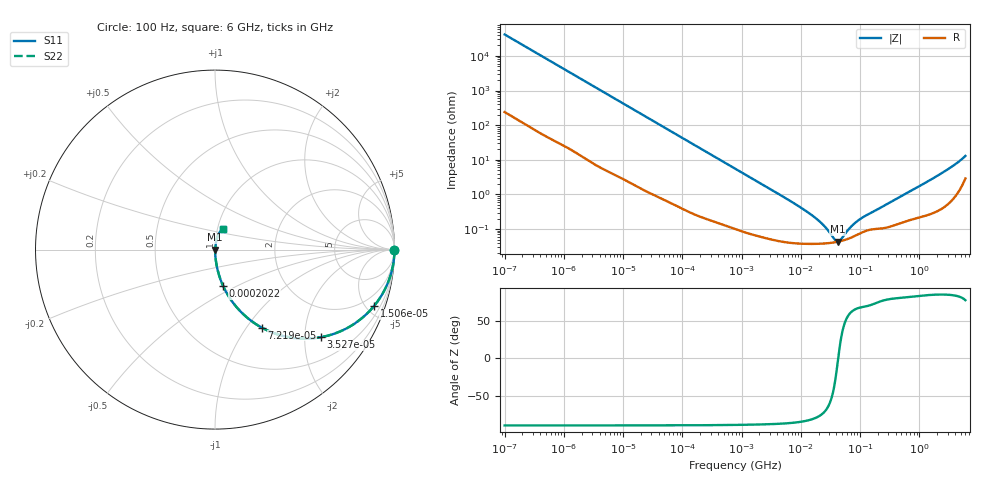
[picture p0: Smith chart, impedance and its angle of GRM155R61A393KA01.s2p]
!Murata Part Number: GRM155R61A393KA01
!These Parameters are Measured in Series Mode Connection
!Data Generated on Mar 30, 2021
!  o--ll--o
!Port1  Port2
!  o------o
!Operation Temp=25[degC], DC Bias Voltage=0[V]
!Freq. Start=100[Hz] Stop=6[GHz] 401[Steps]
# Hz S RI R 50
!Freq.(Hz) S11(Real) S11(Imag) S21(Real) S21(Imag) S12(Real) S12(Imag) S22(Real) S22(Imag)
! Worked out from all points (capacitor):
!   401 points, 100 Hz to 6 GHz, reference 50 ohm
!   read as one part in series: C = 38.3 nF near 109 Hz
!   lowest |Z| = 43.3 mohm at 41.66 MHz (marker M1)
!   series resonance near 42.8 MHz, so ESL is about 360 pH
!   S11 on the Smith chart (normalised r, x): 100 Hz: open; 15.06 kHz: 1.04, -5.62; 35.27 kHz: 1.02, -2.41; 72.19 kHz: 1.01, -1.18; 202.2 kHz: 1.00, -0.42; 6 GHz: 1.06, +0.25
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100  1 -0.00241  1.97e-05 0.00241  1.97e-05 0.00241  1 -0.00241
2008  0.9974 -0.0477  0.00257 0.0477  0.00257 0.0477  0.9974 -0.0477
5882  0.9801 -0.1367  0.0199 0.1367  0.0199 0.1367  0.9801 -0.1367
15062  0.8858 -0.3147  0.1142 0.3147  0.1142 0.3147  0.8858 -0.3147
22537  0.7778 -0.4122  0.2222 0.4122  0.2222 0.4122  0.7778 -0.4122
35265  0.5909 -0.4879  0.4091 0.4879  0.4091 0.4879  0.5909 -0.4879
40335  0.5255 -0.4955  0.4745 0.4955  0.4745 0.4955  0.5255 -0.4955
72189  0.2601 -0.4344  0.7399 0.4344  0.7399 0.4344  0.2601 -0.4344
118133  0.1178 -0.3178  0.8822 0.3178  0.8822 0.3178  0.1178 -0.3178
202169  0.0449 -0.2018  0.9551 0.2018  0.9551 0.2018  0.0449 -0.2018
774597  0.00409 -0.0555  0.9959 0.0555  0.9959 0.0555  0.00409 -0.0555
6353432  0.000449 -0.00676  0.9996 0.00676  0.9996 0.00676  0.000449 -0.00676
1.555665e7  0.000378 -0.00245  0.9996 0.00245  0.9996 0.00245  0.000378 -0.00245
2.327686e7  0.000382 -0.00133  0.9996 0.00133  0.9996 0.00133  0.000382 -0.00133
3.64232e7  0.000412 -0.00033  0.9996 0.00033  0.9996 0.00033  0.000412 -0.00033
4.165952e7  0.000429 -5.42e-05  0.9996 5.42e-05  0.9996 5.42e-05  0.000429 -5.42e-05
4.764863e7  0.000452 0.000218  0.9995 -0.000218  0.9995 -0.000218  0.000452 0.000218
6.817316e7  0.000553 0.000956  0.9994 -0.000956  0.9994 -0.000956  0.000553 0.000956
9.326766e7  0.000709 0.00163  0.9993 -0.00163  0.9993 -0.00163  0.000709 0.00163
3.124326e8  0.00119 0.00567  0.9988 -0.00567  0.9988 -0.00567  0.00119 0.00567
2.048624e9  0.00451 0.0347  0.9955 -0.0347  0.9955 -0.0347  0.00451 0.0347
6e9  0.0424 0.1173  0.9576 -0.1173  0.9576 -0.1173  0.0424 0.1173
